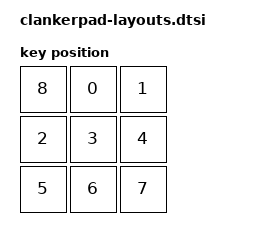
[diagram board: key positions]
#include <physical_layouts.dtsi>

/ {
    default_layout: default_layout {
        compatible = "zmk,physical-layout";
        display-name = "Default Layout";
        transform = <&default_transform>;
        kscan = <&kscan0>;

        keys  //                     w   h    x    y     rot    rx    ry
            = <&key_physical_attrs 100 100  100    0       0     0     0>  // key 2
            , <&key_physical_attrs 100 100  200    0       0     0     0>  // key 3
            , <&key_physical_attrs 100 100    0  100       0     0     0>  // key 4
            , <&key_physical_attrs 100 100  100  100       0     0     0>  // key 5
            , <&key_physical_attrs 100 100  200  100       0     0     0>  // key 6
            , <&key_physical_attrs 100 100    0  200       0     0     0>  // key 7
            , <&key_physical_attrs 100 100  100  200       0     0     0>  // key 8
            , <&key_physical_attrs 100 100  200  200       0     0     0>  // key 9
            , <&key_physical_attrs 100 100    0    0       0     0     0>  // encoder btn
            ;
    };
};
